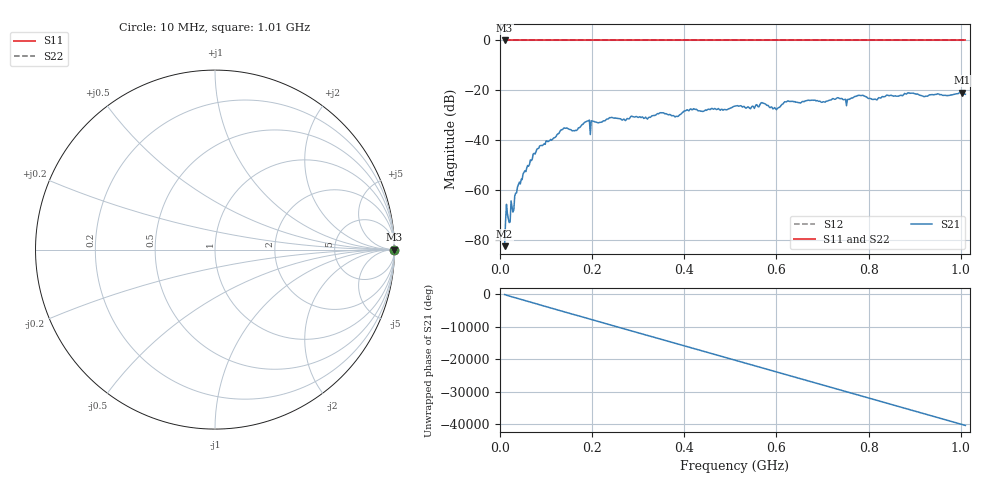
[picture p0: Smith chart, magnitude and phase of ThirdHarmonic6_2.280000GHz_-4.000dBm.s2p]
! 8/17/2025 2:56:52 AM
! C:\ANRITSUVNA\TEMP\TEMP.S2P
! CHANNEL.1
! TR.MEASUREMENT
! RAW.DATA
! RF.CORRECTION.OFF
! AVERAGING.OFF
! IF.BANDWIDTH: 5KHZ
! SWEEPTYPE:  FREQ.SWEEP(Linear)
! Reference Plane Port Info
! PORT:  PORT1  PORT2
! DISTANCE:  0  m  0  m
! TIME:  0  s  0  s
! PHASE.OFFSET:  0  deg.  0  deg.
! LOSS:  0  dB  0  dB
! REF.LOSS:  0  dB  0  dB
! REF.FREQ:  0  Hz  0  Hz
! Power Info
! POWER:  -20  dBm  -20  dBm
! EFF.POWER:  -20  dBm  -20  dBm
! SOURCE.ATTEN:  0  dB  0  dB
! TEST.ATTEN:  0  dB  0  dB
# GHZ S RI R 50.0
! FREQ.GHZ  S11RE  S11IM  S21RE  S21IM  S12RE  S12IM  S22RE  S22IM
!; PortSelection: Port_12
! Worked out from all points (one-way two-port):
!   501 points, 10 MHz to 1.01 GHz, reference 50 ohm
!   highest |S21| = -20.84 dB at 1.002 GHz (marker M1); lowest = -82.4 dB at 10 MHz (marker M2)
!   lowest |S11| = 0.0 dB at 10 MHz (marker M3)
!   |S11| at or under -10 dB: nowhere
!   |S22| runs from 0.0 to 0.0 dB; largest |S21 - S12| = 1.1
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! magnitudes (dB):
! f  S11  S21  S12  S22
! 10 MHz  0.0  -82.4  0.0  0.0
! 16 MHz  0.0  -69.2  0.0  0.0
! 24 MHz  0.0  -64.2  0.0  0.0
! 42 MHz  0.0  -56.7  0.0  0.0
! 84 MHz  0.0  -43.2  0.0  0.0
! 136 MHz  0.0  -35.6  0.0  0.0
! 162 MHz  0.0  -36.2  0.0  0.0
! 178 MHz  0.0  -33.8  0.0  0.0
! 344 MHz  0.0  -29.4  0.0  0.0
! 384 MHz  0.0  -30.4  0.0  0.0
! 416 MHz  0.0  -27.7  0.0  0.0
! 510 MHz  0.0  -26.3  0.0  0.0
! 570 MHz  0.0  -25.0  0.0  0.0
! 596 MHz  0.0  -26.9  0.0  0.0
! 622 MHz  0.0  -24.5  0.0  0.0
! 678 MHz  0.0  -23.9  0.0  0.0
! 754 MHz  0.0  -23.6  0.0  0.0
! 782 MHz  0.0  -22.0  0.0  0.0
! 814 MHz  0.0  -23.4  0.0  0.0
! 844 MHz  0.0  -22.1  0.0  0.0
! 1.002 GHz  0.0  -20.8  0.0  0.0
! 1.01 GHz  0.0  -21.5  0.0  0.0
